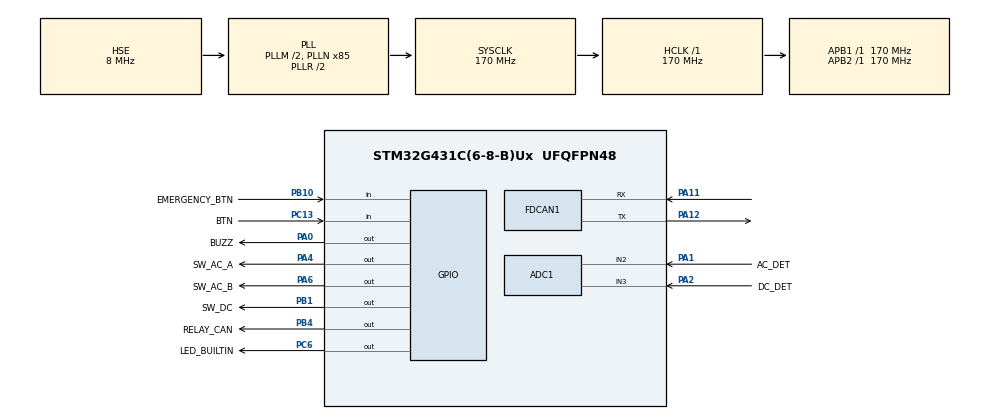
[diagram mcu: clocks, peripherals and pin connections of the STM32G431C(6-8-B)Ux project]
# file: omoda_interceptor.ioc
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ADC1.Channel-0\#ChannelRegularConversion=ADC_CHANNEL_2
ADC1.Channel-1\#ChannelRegularConversion=ADC_CHANNEL_3
ADC1.ClockPrescaler=ADC_CLOCK_SYNC_PCLK_DIV4
ADC1.ContinuousConvMode=ENABLE
ADC1.DMAContinuousRequests=ENABLE
ADC1.EOCSelection=ADC_EOC_SEQ_CONV
ADC1.NbrOfConversion=2
ADC1.NbrOfConversionFlag=1
ADC1.OffsetNumber-0\#ChannelRegularConversion=ADC_OFFSET_NONE
ADC1.OffsetNumber-1\#ChannelRegularConversion=ADC_OFFSET_NONE
ADC1.Rank-0\#ChannelRegularConversion=1
ADC1.Rank-1\#ChannelRegularConversion=2
ADC1.SamplingTime-0\#ChannelRegularConversion=ADC_SAMPLETIME_640CYCLES_5
ADC1.SamplingTime-1\#ChannelRegularConversion=ADC_SAMPLETIME_640CYCLES_5
ADC1.master=1
Dma.ADC1.0.Direction=DMA_PERIPH_TO_MEMORY
Dma.ADC1.0.EventEnable=DISABLE
Dma.ADC1.0.Instance=DMA1_Channel1
Dma.ADC1.0.MemDataAlignment=DMA_MDATAALIGN_HALFWORD
Dma.ADC1.0.MemInc=DMA_MINC_ENABLE
Dma.ADC1.0.Mode=DMA_CIRCULAR
Dma.ADC1.0.PeriphDataAlignment=DMA_PDATAALIGN_HALFWORD
Dma.ADC1.0.PeriphInc=DMA_PINC_DISABLE
Dma.ADC1.0.Polarity=HAL_DMAMUX_REQ_GEN_RISING
Dma.ADC1.0.Priority=DMA_PRIORITY_LOW
Dma.ADC1.0.RequestNumber=1
Dma.ADC1.0.SignalID=NONE
Dma.ADC1.0.SyncEnable=DISABLE
Dma.ADC1.0.SyncPolarity=HAL_DMAMUX_SYNC_NO_EVENT
Dma.ADC1.0.SyncRequestNumber=1
Dma.ADC1.0.SyncSignalID=NONE
Dma.Request0=ADC1
FDCAN1.CalculateBaudRateNominal=500000
FDCAN1.CalculateTimeBitNominal=2000
FDCAN1.CalculateTimeQuantumNominal=100.0
FDCAN1.DataPrescaler=17
FDCAN1.DataTimeSeg1=6
FDCAN1.DataTimeSeg2=2
FDCAN1.FrameFormat=FDCAN_FRAME_FD_BRS
FDCAN1.Mode=FDCAN_MODE_NORMAL
FDCAN1.NominalPrescaler=17
FDCAN1.NominalTimeSeg1=16
FDCAN1.NominalTimeSeg2=3
FDCAN1.StdFiltersNbr=1
Mcu.Family=STM32G4
Mcu.Name=STM32G431C(6-8-B)Ux
Mcu.Package=UFQFPN48
NVIC.DMA1_Channel1_IRQn=true\:2\:0\:true\:false\:true\:false\:true\:true
NVIC.FDCAN1_IT0_IRQn=true\:0\:0\:false\:false\:true\:true\:true\:true
NVIC.PriorityGroup=NVIC_PRIORITYGROUP_4
NVIC.TIM6_DAC_IRQn=true\:1\:0\:true\:false\:true\:true\:true\:true
PA0.GPIO_Label=BUZZ
PA0.Signal=GPIO_Output
PA1.GPIO_Label=AC_DET
PA1.Mode=IN2-Single-Ended
PA1.Signal=ADC1_IN2
PA11.Mode=FDCAN_Activate
PA11.Signal=FDCAN1_RX
PA12.Mode=FDCAN_Activate
PA12.Signal=FDCAN1_TX
PA2.GPIO_Label=DC_DET
PA2.Mode=IN3-Single-Ended
PA2.Signal=ADC1_IN3
PA4.GPIO_Label=SW_AC_A
PA4.Signal=GPIO_Output
PA6.GPIO_Label=SW_AC_B
PA6.Signal=GPIO_Output
PB1.GPIO_Label=SW_DC
PB1.Signal=GPIO_Output
PB10.GPIO_Label=EMERGENCY_BTN
PB10.GPIO_PuPd=GPIO_PULLUP
PB10.Signal=GPIO_Input
PB4.GPIO_Label=RELAY_CAN
PB4.Signal=GPIO_Output
PC13.GPIO_Label=BTN
PC13.GPIO_PuPd=GPIO_PULLUP
PC13.Signal=GPIO_Input
PC6.GPIO_Label=LED_BUILTIN
PC6.Signal=GPIO_Output
PF0-OSC_IN.Mode=HSE-External-Oscillator
PF0-OSC_IN.Signal=RCC_OSC_IN
PF1-OSC_OUT.Mode=HSE-External-Oscillator
PF1-OSC_OUT.Signal=RCC_OSC_OUT
ProjectManager.HeapSize=0x200
ProjectManager.StackSize=0x400
ProjectManager.TargetToolchain=STM32CubeIDE
RCC.ADC12Freq_Value=170000000
RCC.AHBFreq_Value=170000000
RCC.APB1Freq_Value=170000000
RCC.APB1TimFreq_Value=170000000
RCC.APB2Freq_Value=170000000
RCC.APB2TimFreq_Value=170000000
RCC.CortexFreq_Value=170000000
RCC.EXTERNAL_CLOCK_VALUE=12288000
RCC.HCLKFreq_Value=170000000
RCC.HSE_VALUE=8000000
RCC.HSI48_VALUE=48000000
RCC.HSI_VALUE=16000000
RCC.LSE_VALUE=32768
RCC.PLLM=RCC_PLLM_DIV2
RCC.PLLN=85
RCC.PLLSourceVirtual=RCC_PLLSOURCE_HSE
RCC.SYSCLKFreq_VALUE=170000000
RCC.SYSCLKSource=RCC_SYSCLKSOURCE_PLLCLK
RCC.USBFreq_Value=170000000
RCC.VCOOutputFreq_Value=340000000
TIM6.PeriodNoDither=1000-1
TIM6.Prescaler=170-1
VP_SYS_VS_DBSignals.Mode=DisableDeadBatterySignals
VP_TIM6_VS_ClockSourceINT.Mode=Enable_Timer
board=custom

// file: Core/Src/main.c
/* USER CODE BEGIN Header */
/**
 ******************************************************************************
 * @file           : main.c
 * @brief          : Main program body
 ******************************************************************************
 * @attention
 *
 * Copyright (c) 2025 STMicroelectronics.
 * All rights reserved.
 *
 * This software is licensed under terms that can be found in the LICENSE file
 * in the root directory of this software component.
 * If no LICENSE file comes with this software, it is provided AS-IS.
 *
 ******************************************************************************
 */
/* USER CODE END Header */
#include "main.h"
#include "adc.h"
#include "dma.h"
#include "fdcan.h"
#include "tim.h"
#include "gpio.h"

/* USER CODE BEGIN Includes */
#include "string.h"
#include "stdbool.h"
/* USER CODE END Includes */

/* USER CODE BEGIN PV */
GPIO_PinState relay_state = GPIO_PIN_RESET;
FDCAN_TxHeaderTypeDef TxHeader;
FDCAN_RxHeaderTypeDef RxHeader;
uint8_t rx_data[64];
uint8_t tx_data[64];
uint8_t counter_tx;
volatile uint16_t interval_led = 1000;
uint16_t interval_tx = 10;
uint32_t timer_led, timer_tx;

int main_state = 0;

// Time for waiting camera to bootup
const unsigned long pc_on_delay_s = 5;

// Duration waiting ecoflow to turn on
const unsigned long init_wait_s = 5;

// Time for waiting PC to fully off
const unsigned long pc_poff_wait_s = 60;

// Time for waiting PC to bootup
const unsigned long pc_boot_timeout_s = 10;

// Timeout for ecoflow to turn on
const unsigned long ecoflow_timeout_s = 60;

// delay hardcode ecoflow to turn on
const unsigned long delay_ecoflow_on_s = 5;

// Duration for DC to remain active
const unsigned long dc_gone_timeout_s = 30;

// Wait timeout for PC to send shutdown command
const unsigned long pc_poff_timeout_s = 300;

// Time of long button press
const unsigned long button_long_press_ms = 2000;

// Time of short button press
const unsigned long button_short_press_ms = 100;

// Minimum number of AC detections to consider AC is on
const int ac_det_min_cnt = 10;

volatile uint8_t send_code = 0;
uint32_t last_time = 0;
uint32_t timer_sec = 0;
int fail_ctr = 0;
bool force_on = false;

uint16_t adc_val[2];
uint16_t ac_det = 0, dc_det = 0;
float ac_voltage = 0, dc_voltage = 0;

volatile uint32_t fdcan_tx_ok = 0;
volatile uint32_t fdcan_tx_err = 0;
volatile uint32_t fdcan_bus_off_cnt = 0;
volatile bool fdcan_need_recover = false;
volatile bool fdcan_need_start = false;
static uint8_t fdcan_tx_err_streak = 0; // local helper
/* USER CODE END PV */

void SystemClock_Config(void);
/* USER CODE BEGIN PFP */
void bripip();
void bupup();
void beep();
bool is_button_long_pressed();
bool is_button_short_pressed();
bool is_dc_on();
bool is_ac_on();
/* USER CODE END PFP */

/* USER CODE BEGIN 0 */
static inline void reset_timer(uint32_t *last_time_ptr, uint32_t *timer_sec_ptr)
{
  *last_time_ptr = HAL_GetTick();
  *timer_sec_ptr = 0;
}

void FDCAN_Init();
uint8_t calculate_crc(const uint8_t *data, size_t length, uint8_t poly, uint8_t xor_output)
{
  uint8_t crc = 0;
  for (size_t i = 0; i < length; ++i)
  {
    crc ^= data[i];
    for (int j = 0; j < 8; ++j)
    {
      if (crc & 0x80)
      {
        crc = (crc << 1) ^ poly;
      }
      else
      {
        crc <<= 1;
      }
      crc &= 0xFF;
    }
  }
  return (crc ^ xor_output);
}

void HAL_FDCAN_RxFifo0Callback(FDCAN_HandleTypeDef *hfdcan, uint32_t RxFifo1ITs)
{
  if ((RxFifo1ITs & FDCAN_IT_RX_FIFO0_NEW_MESSAGE) != RESET)
  {

    memset(rx_data, 0, sizeof(rx_data));
    if (HAL_FDCAN_GetRxMessage(hfdcan, FDCAN_RX_FIFO0, &RxHeader, rx_data) != HAL_OK)
    {
      Error_Handler();
    }

    if (RxHeader.Identifier == 0x069)
    {
      uint8_t crc_ = calculate_crc(rx_data, 4, 0x1D, 0xA);

      if (crc_ == rx_data[4])
      {
        if (relay_state != rx_data[0])
        {
          relay_state = rx_data[0];
          HAL_GPIO_WritePin(RELAY_CAN_GPIO_Port, RELAY_CAN_Pin, relay_state);
        }
        interval_led = (rx_data[1] << 8) | rx_data[2];
      }
    }
  }
}

void HAL_FDCAN_ErrorStatusCallback(FDCAN_HandleTypeDef *hfdcan, uint32_t ErrorStatusITs)
{
  (void)hfdcan;
  if ((ErrorStatusITs & FDCAN_IT_BUS_OFF) != 0U)
  {
    fdcan_bus_off_cnt++;
    fdcan_need_recover = true;
  }
}

void HAL_TIM_PeriodElapsedCallback(TIM_HandleTypeDef *htim)
{
  if (htim->Instance == TIM6) // timer 1khz
  {
    static uint32_t ctr1 = 0, ctr2 = 0;
    if (++ctr1 >= interval_led)
    {
      HAL_GPIO_TogglePin(LED_BUILTIN_GPIO_Port, LED_BUILTIN_Pin);
      ctr1 = 0;
    }
    if (++ctr2 >= interval_tx)
    {
      TxHeader.Identifier = 0x065;
      tx_data[0] = relay_state;
      tx_data[1] = HAL_GPIO_ReadPin(EMERGENCY_BTN_GPIO_Port, EMERGENCY_BTN_Pin);
      tx_data[2] = send_code;
      counter_tx++;
      tx_data[3] = counter_tx;
      uint8_t crc_ = calculate_crc(tx_data, 4, 0x1D, 0xA);
      tx_data[4] = crc_;

      // HAL_FDCAN_AddMessageToTxFifoQ(&hfdcan1, &TxHeader, tx_data);
      uint32_t free = HAL_FDCAN_GetTxFifoFreeLevel(&hfdcan1);
      if (free > 0)
      {
        if (HAL_FDCAN_AddMessageToTxFifoQ(&hfdcan1, &TxHeader, tx_data) == HAL_OK)
        {
          fdcan_tx_ok++;
          fdcan_tx_err_streak = 0;
        }
        else
        {
          fdcan_tx_err++;
          if (++fdcan_tx_err_streak >= 3) // threshold, adjust jika perlu
            fdcan_need_recover = true;
        }
      }
      ctr2 = 0;
    }
  }
}

void HAL_ADC_ConvCpltCallback(ADC_HandleTypeDef *hadc)
{
  // Process the data
  ac_det = adc_val[0];
  dc_det = adc_val[1];
}
/* USER CODE END 0 */

int main(void)
{

  /* MCU Configuration--------------------------------------------------------*/

  /* Reset of all peripherals, Initializes the Flash interface and the Systick. */
  HAL_Init();

  /* Configure the system clock */
  SystemClock_Config();

  /* Initialize all configured peripherals */
  MX_GPIO_Init();
  MX_DMA_Init();
  MX_FDCAN1_Init();
  MX_ADC1_Init();
  MX_TIM6_Init();
  /* USER CODE BEGIN 2 */
  FDCAN_Init();

  for (int i = 0; i < 10; i++)
  {
    HAL_GPIO_TogglePin(LED_BUILTIN_GPIO_Port, LED_BUILTIN_Pin);
    HAL_GPIO_TogglePin(BUZZ_GPIO_Port, BUZZ_Pin);
    HAL_Delay(100);
  }
  // HAL_ADC_Start_DMA(&hadc1, (uint32_t *)adc_val, 4);
  HAL_ADC_Start_DMA(&hadc1, (uint32_t *)adc_val, 2);
  HAL_Delay(100);

  HAL_TIM_Base_Start_IT(&htim6);
  last_time = HAL_GetTick();
  /* USER CODE END 2 */

  /* Infinite loop */
  /* USER CODE BEGIN WHILE */
  while (1)
  {
    uint32_t timer_ms = HAL_GetTick() - last_time;
    if (timer_ms > 1000)
    {
      last_time = HAL_GetTick();
      timer_sec += 1;
    }

    // auto reset_timer = []()
    // {
    //   last_time = HAL_GetTick();
    //   timer_sec = 0;
    // };

    if (is_button_long_pressed())
    {
      if (main_state < 7)
      {
        main_state = 7;
        HAL_GPIO_WritePin(SW_AC_A_GPIO_Port, SW_AC_A_Pin, GPIO_PIN_SET);
        HAL_GPIO_WritePin(SW_AC_B_GPIO_Port, SW_AC_B_Pin, GPIO_PIN_SET);
        HAL_GPIO_WritePin(SW_DC_GPIO_Port, SW_DC_Pin, GPIO_PIN_SET);
        beep();
        force_on = true;
      }
      else
      {
        main_state = 10;
        fail_ctr = 0;
        HAL_GPIO_WritePin(LED_BUILTIN_GPIO_Port, LED_BUILTIN_Pin, GPIO_PIN_RESET);
        HAL_GPIO_WritePin(SW_AC_A_GPIO_Port, SW_AC_A_Pin, GPIO_PIN_RESET);
        HAL_GPIO_WritePin(SW_AC_B_GPIO_Port, SW_AC_B_Pin, GPIO_PIN_RESET);
        HAL_GPIO_WritePin(SW_DC_GPIO_Port, SW_DC_Pin, GPIO_PIN_SET);
        bupup();

        force_on = false;
      }
      reset_timer(&last_time, &timer_sec);
    }

    switch (main_state)
    {
    case -1: // Error
        ;    // Do nothing
      if (is_button_short_pressed())
      {
        HAL_GPIO_WritePin(SW_AC_A_GPIO_Port, SW_AC_A_Pin, GPIO_PIN_RESET);
        HAL_GPIO_WritePin(SW_AC_B_GPIO_Port, SW_AC_B_Pin, GPIO_PIN_RESET);
        HAL_GPIO_WritePin(SW_DC_GPIO_Port, SW_DC_Pin, GPIO_PIN_SET);
        send_code = 0;
        fail_ctr = 0;
        reset_timer(&last_time, &timer_sec);
        main_state = 0;
      }
      break;

    case 0:
      HAL_GPIO_WritePin(SW_AC_A_GPIO_Port, SW_AC_A_Pin, GPIO_PIN_RESET);
      HAL_GPIO_WritePin(SW_AC_B_GPIO_Port, SW_AC_B_Pin, GPIO_PIN_RESET);
      HAL_GPIO_WritePin(SW_DC_GPIO_Port, SW_DC_Pin, GPIO_PIN_SET);

      send_code = 1;

      if (!is_dc_on())
      {
        break;
      }

      if (fail_ctr < 5)
      {
        beep();
        main_state = 1;
        reset_timer(&last_time, &timer_sec);
      }
      else
      {
        for (int i = 0; i < 3; i++)
        {
          bupup();
          HAL_Delay(1000);
        }
        main_state = -1;
      }
      break;

    case 1: // Wait for  init delay
      send_code = 2;
      if (timer_ms > 200)
      {
        main_state = 2;
        HAL_GPIO_WritePin(SW_DC_GPIO_Port, SW_DC_Pin, GPIO_PIN_SET);
        HAL_GPIO_WritePin(SW_AC_A_GPIO_Port, SW_AC_A_Pin, GPIO_PIN_SET);
        reset_timer(&last_time, &timer_sec);
      };
      break;
    case 2: // Wait few seconds for ecoflow to turn on
      send_code = 3;
      if (timer_sec > init_wait_s)
      {
        main_state = 3;
        reset_timer(&last_time, &timer_sec);
      }
      break;
    case 3: // Check if AC is on
    {
      send_code = 4;
//      static int ac_det_ctr = 0;
      // if (is_ac_on())
      // {
      //   ac_det_ctr += 1;
      // }

      // if (ac_det_ctr > ac_det_min_cnt)
      // {
      //   main_state = 4;
      //   ac_det_ctr = 0;
      //   reset_timer(&last_time, &timer_sec);
      // }
      if (timer_sec > delay_ecoflow_on_s)
      {
        main_state = 4;
//        ac_det_ctr = 0;
        reset_timer(&last_time, &timer_sec);
      }

      // if (timer_sec > ecoflow_timeout_s)
      // {
      //   HAL_GPIO_WritePin(SW_DC_GPIO_Port, SW_DC_Pin, GPIO_PIN_SET);
      //   main_state = 10;
      //   fail_ctr += 5;
      // }
    }

    break;
    case 4: // Wait few seconds for camera bootup
      send_code = 5;
      if (timer_sec > pc_on_delay_s)
      {
        main_state = 5;
      }
      break;
    case 5: // switch on AC for PC
      send_code = 6;
      HAL_GPIO_WritePin(SW_AC_B_GPIO_Port, SW_AC_B_Pin, GPIO_PIN_SET);
      reset_timer(&last_time, &timer_sec);
      main_state = 6;
      break;
    case 6: // Wait for PC to bootup
      send_code = 7;
      if (timer_sec > pc_boot_timeout_s)
      {
        main_state = 7;
      }
      break;
    case 7: // Idle
      send_code = 8;
      if (is_dc_on() || force_on)
      {
        reset_timer(&last_time, &timer_sec);
      }

      if (timer_sec > dc_gone_timeout_s)
      {
        main_state = 8;
        reset_timer(&last_time, &timer_sec);
      }

      break;
    case 8: // wait PC to process the shutdown request
      send_code = 9;
      if (timer_sec > pc_poff_timeout_s)
      {
        main_state = 9;
        fail_ctr += 1;
      }
      break;
    case 9:
      send_code = 10;
      if (timer_sec > pc_poff_wait_s)
      {
        main_state = 10;
        HAL_GPIO_WritePin(SW_AC_A_GPIO_Port, SW_AC_A_Pin, GPIO_PIN_RESET);
        HAL_GPIO_WritePin(SW_AC_B_GPIO_Port, SW_AC_B_Pin, GPIO_PIN_RESET);
        HAL_GPIO_WritePin(SW_DC_GPIO_Port, SW_DC_Pin, GPIO_PIN_SET);

        // should not execute until here
        reset_timer(&last_time, &timer_sec);
        force_on = false;
      }
      break;
    case 10: // Wait for capacitor to discharge
      send_code = 11;
      if (timer_sec > dc_gone_timeout_s)
      {
        main_state = 0;
      }
      break;
    default:
      main_state = 0;
      fail_ctr += 1;
      break;
    } /***** END OF CASE *****/

    if (fdcan_need_recover)
    {
      fdcan_need_recover = false;
      fdcan_tx_err_streak = 0;

      HAL_FDCAN_Stop(&hfdcan1);
      fdcan_need_start = true;
    }
    HAL_Delay(10);
    if (fdcan_need_start)
    {
      fdcan_need_start = false;
      if (HAL_FDCAN_Start(&hfdcan1) != HAL_OK)
      {
        // jika gagal start ulang, bisa retry atau set error state
        fdcan_need_recover = true;
      }
      // re-enable notifications (include BUS_OFF)
      HAL_FDCAN_ActivateNotification(&hfdcan1, FDCAN_IT_RX_FIFO0_NEW_MESSAGE | FDCAN_IT_BUS_OFF, 0);
      bupup();
    }

    /* USER CODE END WHILE */

  }
}

void SystemClock_Config(void)
{
  RCC_OscInitTypeDef RCC_OscInitStruct = {0};
  RCC_ClkInitTypeDef RCC_ClkInitStruct = {0};

  /** Configure the main internal regulator output voltage
  */
  HAL_PWREx_ControlVoltageScaling(PWR_REGULATOR_VOLTAGE_SCALE1_BOOST);

  /** Initializes the RCC Oscillators according to the specified parameters
  * in the RCC_OscInitTypeDef structure.
  */
  RCC_OscInitStruct.OscillatorType = RCC_OSCILLATORTYPE_HSE;
  RCC_OscInitStruct.HSEState = RCC_HSE_ON;
  RCC_OscInitStruct.PLL.PLLState = RCC_PLL_ON;
  RCC_OscInitStruct.PLL.PLLSource = RCC_PLLSOURCE_HSE;
  RCC_OscInitStruct.PLL.PLLM = RCC_PLLM_DIV2;
  RCC_OscInitStruct.PLL.PLLN = 85;
  RCC_OscInitStruct.PLL.PLLP = RCC_PLLP_DIV2;
  RCC_OscInitStruct.PLL.PLLQ = RCC_PLLQ_DIV2;
  RCC_OscInitStruct.PLL.PLLR = RCC_PLLR_DIV2;
  if (HAL_RCC_OscConfig(&RCC_OscInitStruct) != HAL_OK)
  {
    Error_Handler();
  }

  /** Initializes the CPU, AHB and APB buses clocks
  */
  RCC_ClkInitStruct.ClockType = RCC_CLOCKTYPE_HCLK|RCC_CLOCKTYPE_SYSCLK
                              |RCC_CLOCKTYPE_PCLK1|RCC_CLOCKTYPE_PCLK2;
  RCC_ClkInitStruct.SYSCLKSource = RCC_SYSCLKSOURCE_PLLCLK;
  RCC_ClkInitStruct.AHBCLKDivider = RCC_SYSCLK_DIV1;
  RCC_ClkInitStruct.APB1CLKDivider = RCC_HCLK_DIV1;
  RCC_ClkInitStruct.APB2CLKDivider = RCC_HCLK_DIV1;

  if (HAL_RCC_ClockConfig(&RCC_ClkInitStruct, FLASH_LATENCY_4) != HAL_OK)
  {
    Error_Handler();
  }
}

/* USER CODE BEGIN 4 */
void FDCAN_Init()
{
  FDCAN_FilterTypeDef sFilterConfig = {};

  sFilterConfig.IdType = FDCAN_STANDARD_ID;
  sFilterConfig.FilterIndex = 0;
  sFilterConfig.FilterType = FDCAN_FILTER_MASK;
  sFilterConfig.FilterConfig = FDCAN_FILTER_TO_RXFIFO0;
  sFilterConfig.FilterID1 = 0x069;
  sFilterConfig.FilterID2 = 0x7FF;

  if (HAL_FDCAN_ConfigFilter(&hfdcan1, &sFilterConfig) != HAL_OK)
  {
    Error_Handler();
  }

  HAL_FDCAN_ConfigGlobalFilter(
      &hfdcan1,
      FDCAN_REJECT, // Non-matching STD
      FDCAN_REJECT, // Non-matching EXT
      FDCAN_REJECT, // Remote STD
      FDCAN_REJECT  // Remote EXT
  );

  if (HAL_FDCAN_Start(&hfdcan1) != HAL_OK)
  {
    Error_Handler();
  }

  if (HAL_FDCAN_ActivateNotification(&hfdcan1, FDCAN_IT_RX_FIFO0_NEW_MESSAGE | FDCAN_IT_BUS_OFF, 0) != HAL_OK)
  {
    Error_Handler();
  }
  // if (HAL_FDCAN_ActivateNotification(&hfdcan1, FDCAN_IT_RX_FIFO0_NEW_MESSAGE, 0) != HAL_OK)
  // {
  //   Error_Handler();
  // }

  TxHeader.IdType = FDCAN_STANDARD_ID;
  TxHeader.TxFrameType = FDCAN_DATA_FRAME;
  TxHeader.DataLength = FDCAN_DLC_BYTES_5;
  TxHeader.ErrorStateIndicator = FDCAN_ESI_ACTIVE;
  //	TxHeader.BitRateSwitch = FDCAN_BRS_ON;
  //	TxHeader.FDFormat = FDCAN_CLASSIC_CAN;
  TxHeader.TxEventFifoControl = FDCAN_NO_TX_EVENTS;
  TxHeader.MessageMarker = 0;

  memset(tx_data, 0, sizeof(tx_data));
}

void bripip()
{
  for (int i = 0; i < 6; i++)
  {
    HAL_GPIO_WritePin(BUZZ_GPIO_Port, BUZZ_Pin, GPIO_PIN_SET);
    HAL_Delay(20);
    HAL_GPIO_WritePin(BUZZ_GPIO_Port, BUZZ_Pin, GPIO_PIN_RESET);
    HAL_Delay(20);
  }
}

void bupup()
{
  for (int i = 0; i < 4; i++)
  {
    HAL_GPIO_WritePin(BUZZ_GPIO_Port, BUZZ_Pin, GPIO_PIN_SET);
    HAL_Delay(100);
    HAL_GPIO_WritePin(BUZZ_GPIO_Port, BUZZ_Pin, GPIO_PIN_RESET);
    HAL_Delay(100);
  }
}

void beep()
{
  HAL_GPIO_WritePin(BUZZ_GPIO_Port, BUZZ_Pin, GPIO_PIN_SET);
  HAL_Delay(100);
  HAL_GPIO_WritePin(BUZZ_GPIO_Port, BUZZ_Pin, GPIO_PIN_RESET);
}

bool is_button_long_pressed(void)
{
  static uint32_t press_start_ms = 0;
  static bool fired = false;

  const bool pressed = (HAL_GPIO_ReadPin(BTN_GPIO_Port, BTN_Pin) == GPIO_PIN_RESET); // active-low

  if (pressed)
  {
    if (press_start_ms == 0)
    {
      press_start_ms = HAL_GetTick(); // start timing on first detect press
      fired = false;
    }

    if (!fired && (HAL_GetTick() - press_start_ms >= button_long_press_ms))
    {
      fired = true; // only fire once per press
      // beep();
      return true;
    }
  }
  else
  {
    // released: reset state
    press_start_ms = 0;
    fired = false;
  }

  return false;
}

bool is_button_short_pressed(void)
{
  static uint32_t press_start_ms = 0;
  static bool was_pressed = false;

  const bool pressed = (HAL_GPIO_ReadPin(BTN_GPIO_Port, BTN_Pin) == GPIO_PIN_RESET); // active-low

  if (pressed)
  {
    if (!was_pressed)
    {
      was_pressed = true;
      press_start_ms = HAL_GetTick(); // timestamp at press-down
    }
  }
  else
  {
    if (was_pressed)
    {
      was_pressed = false;

      uint32_t duration = HAL_GetTick() - press_start_ms;
      press_start_ms = 0;

      if (duration >= button_short_press_ms && duration < button_long_press_ms)
        return true;
    }
  }

  return false;
}

bool is_ac_on(void)
{
  if (ac_det > 300)
    return true;
  return false;
}

bool is_dc_on(void)
{
  if (dc_det > 300)
    return true;
  return false;
}

/* USER CODE END 4 */

void Error_Handler(void)
{
  __disable_irq();
  while (1)
  {
  }
}
